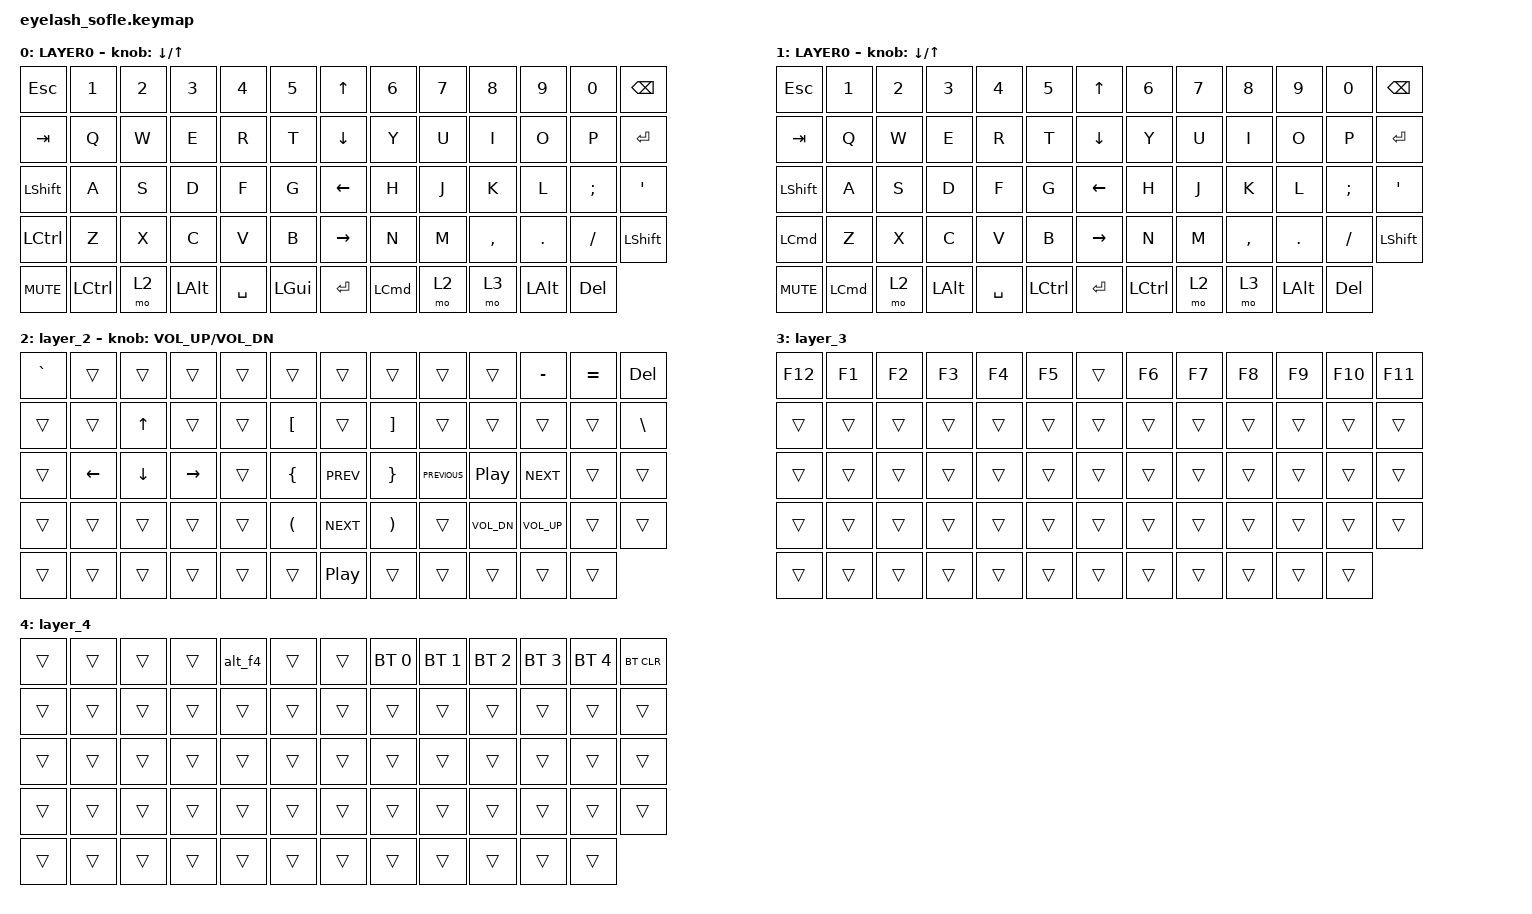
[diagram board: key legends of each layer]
#define ZMK_POINTING_DEFAULT_MOVE_VAL 1200  // 600
#define ZMK_POINTING_DEFAULT_SCRL_VAL 25   // 10

#include <input/processors.dtsi>
#include <zephyr/dt-bindings/input/input-event-codes.h>
#include <behaviors.dtsi>
#include <dt-bindings/zmk/bt.h>
#include <dt-bindings/zmk/keys.h>
#include <dt-bindings/zmk/pointing.h>

&mmv_input_listener { input-processors = <&zip_xy_scaler 2 1>; };

&msc_input_listener { input-processors = <&zip_scroll_scaler 2 1>; };

&msc {
    acceleration-exponent = <1>;      // 0
    time-to-max-speed-ms = <100>;       // 300
    delay-ms = <0>;                   // 0
};

&mmv {
    time-to-max-speed-ms = <500>;
    acceleration-exponent = <1>;
    trigger-period-ms = <16>;
};

/ {
    scroll_encoder: scroll_encoder {
        compatible = "zmk,behavior-sensor-rotate";
        #sensor-binding-cells = <0>;
        bindings = <&msc SCRL_DOWN>, <&msc SCRL_UP>;

        tap-ms = <100>;
    };

    combos {
        compatible = "zmk,combos";

        btMO {
            bindings = <&mo 4>;
            key-positions = <61 60>;
        };

        mux {
            bindings = <&kp LC(B)>;
            key-positions = <34 35>;
        };

        esc {
            bindings = <&kp ESC>;
            key-positions = <30 29>;
        };

        swapOS {
            bindings = <&tog 1>;
            key-positions = <57 59>;
        };
    };

    macros {
        alt_f4: alt_f4 {
            compatible = "zmk,behavior-macro";
            #binding-cells = <0>;
            bindings = <&macro_press>, <&kp LALT &kp F4>, <&macro_press>;

            label = "ALT_F4";
        };
    };

    behaviors {
    };

    keymap {
        compatible = "zmk,keymap";

        BASE {
            bindings = <
&kp ESC         &kp N1     &kp N2  &kp N3        &kp N4     &kp N5          &kp UP_ARROW     &kp N6    &kp N7  &kp N8     &kp N9        &kp N0      &kp BACKSPACE
&kp TAB         &kp Q      &kp W   &kp E         &kp R      &kp T           &kp DOWN_ARROW   &kp Y     &kp U   &kp I      &kp O         &kp P       &kp ENTER
&kp LEFT_SHIFT  &kp A      &kp S   &kp D         &kp F      &kp G           &kp LEFT_ARROW   &kp H     &kp J   &kp K      &kp L         &kp SEMI    &kp APOS
&kp LCTRL       &kp Z      &kp X   &kp C         &kp V      &kp B           &kp RIGHT_ARROW  &kp N     &kp M   &kp COMMA  &kp DOT       &kp FSLH    &kp LSHIFT
&kp C_MUTE      &kp LCTRL  &mo 2   &kp LEFT_ALT  &kp SPACE  &kp LEFT_GUI    &kp ENTER        &kp LCMD  &mo 2   &mo 3      &kp LEFT_ALT  &kp DELETE
            >;

            sensor-bindings = <&inc_dec_kp DOWN UP>;
            display-name = "LAYER0";
        };

        MACBASE {
            display-name = "LAYER0";
            bindings = <
&kp ESC         &kp N1    &kp N2  &kp N3        &kp N4     &kp N5       &kp UP_ARROW     &kp N6     &kp N7  &kp N8     &kp N9        &kp N0      &kp BACKSPACE
&kp TAB         &kp Q     &kp W   &kp E         &kp R      &kp T        &kp DOWN_ARROW   &kp Y      &kp U   &kp I      &kp O         &kp P       &kp ENTER
&kp LEFT_SHIFT  &kp A     &kp S   &kp D         &kp F      &kp G        &kp LEFT_ARROW   &kp H      &kp J   &kp K      &kp L         &kp SEMI    &kp APOS
&kp LCMD        &kp Z     &kp X   &kp C         &kp V      &kp B        &kp RIGHT_ARROW  &kp N      &kp M   &kp COMMA  &kp DOT       &kp FSLH    &kp LSHIFT
&kp C_MUTE      &kp LCMD  &mo 2   &kp LEFT_ALT  &kp SPACE  &kp LCTRL    &kp ENTER        &kp LCTRL  &mo 2   &mo 3      &kp LEFT_ALT  &kp DELETE
            >;

            sensor-bindings = <&inc_dec_kp DOWN UP_ARROW>;
        };

        layer_2 {
            bindings = <
&kp GRAVE  &trans          &trans        &trans     &trans  &trans                  &trans            &trans                 &trans          &trans        &kp MINUS        &kp EQUAL  &kp DELETE
&trans     &trans          &kp UP_ARROW  &trans     &trans  &kp LEFT_BRACKET        &trans            &kp RIGHT_BRACKET      &trans          &trans        &trans           &trans     &kp BACKSLASH
&trans     &kp LEFT_ARROW  &kp DOWN      &kp RIGHT  &trans  &kp LEFT_BRACE          &kp C_PREV        &kp RIGHT_BRACE        &kp C_PREVIOUS  &kp C_PP      &kp C_NEXT       &trans     &trans
&trans     &trans          &trans        &trans     &trans  &kp LEFT_PARENTHESIS    &kp C_NEXT        &kp RIGHT_PARENTHESIS  &trans          &kp C_VOL_DN  &kp C_VOLUME_UP  &trans     &trans
&trans     &trans          &trans        &trans     &trans  &trans                  &kp C_PLAY_PAUSE  &trans                 &trans          &trans        &trans           &trans
            >;

            sensor-bindings = <&inc_dec_kp C_VOL_UP C_VOL_DN>;
        };

        layer_3 {
            bindings = <
&kp F12  &kp F1  &kp F2  &kp F3  &kp F4  &kp F5    &trans  &kp F6  &kp F7  &kp F8  &kp F9  &kp F10  &kp F11
&trans   &trans  &trans  &trans  &trans  &trans    &trans  &trans  &trans  &trans  &trans  &trans   &trans
&trans   &trans  &trans  &trans  &trans  &trans    &trans  &trans  &trans  &trans  &trans  &trans   &trans
&trans   &trans  &trans  &trans  &trans  &trans    &trans  &trans  &trans  &trans  &trans  &trans   &trans
&trans   &trans  &trans  &trans  &trans  &trans    &trans  &trans  &trans  &trans  &trans  &trans
            >;
        };

        layer_4 {
            bindings = <
&trans  &trans  &trans  &trans  &alt_f4  &trans    &trans  &bt BT_SEL 0  &bt BT_SEL 1  &bt BT_SEL 2  &bt BT_SEL 3  &bt BT_SEL 4  &bt BT_CLR
&trans  &trans  &trans  &trans  &trans   &trans    &trans  &trans        &trans        &trans        &trans        &trans        &trans
&trans  &trans  &trans  &trans  &trans   &trans    &trans  &trans        &trans        &trans        &trans        &trans        &trans
&trans  &trans  &trans  &trans  &trans   &trans    &trans  &trans        &trans        &trans        &trans        &trans        &trans
&trans  &trans  &trans  &trans  &trans   &trans    &trans  &trans        &trans        &trans        &trans        &trans
            >;
        };
    };
};
